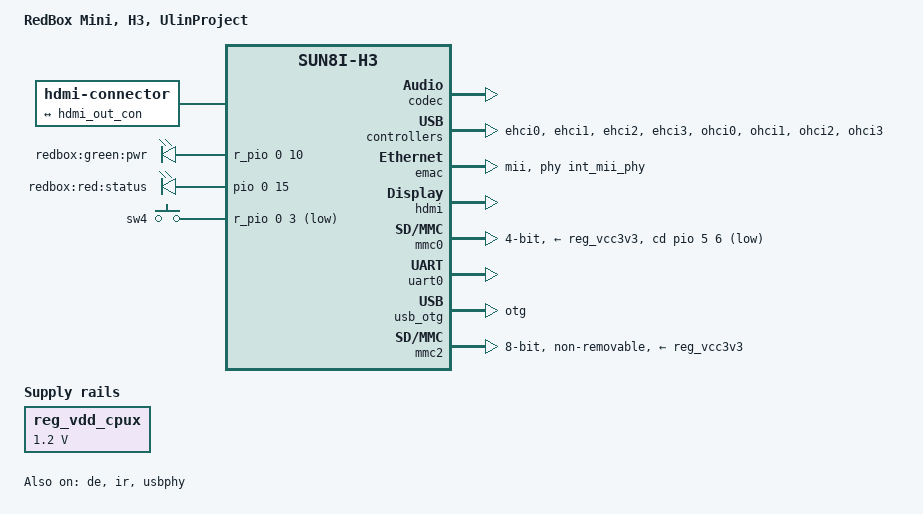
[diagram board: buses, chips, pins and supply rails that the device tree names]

// This build is a rework of redbox mini 5 (#UlinProject24, mit/apache2) 
// and orange pi pc (Copyright (C) 2015 Chen-Yu Tsai <wens@csie.org>, gpl/x11(mit))
//

/*
 * Copyright (C) 2015 Chen-Yu Tsai <wens@csie.org>
 *
 * This file is dual-licensed: you can use it either under the terms
 * of the GPL or the X11 license, at your option. Note that this dual
 * licensing only applies to this file, and not this project as a
 * whole.
 *
 *  a) This file is free software; you can redistribute it and/or
 *     modify it under the terms of the GNU General Public License as
 *     published by the Free Software Foundation; either version 2 of the
 *     License, or (at your option) any later version.
 *
 *     This file is distributed in the hope that it will be useful,
 *     but WITHOUT ANY WARRANTY; without even the implied warranty of
 *     MERCHANTABILITY or FITNESS FOR A PARTICULAR PURPOSE.  See the
 *     GNU General Public License for more details.
 *
 * Or, alternatively,
 *
 *  b) Permission is hereby granted, free of charge, to any person
 *     obtaining a copy of this software and associated documentation
 *     files (the "Software"), to deal in the Software without
 *     restriction, including without limitation the rights to use,
 *     copy, modify, merge, publish, distribute, sublicense, and/or
 *     sell copies of the Software, and to permit persons to whom the
 *     Software is furnished to do so, subject to the following
 *     conditions:
 *
 *     The above copyright notice and this permission notice shall be
 *     included in all copies or substantial portions of the Software.
 *
 *     THE SOFTWARE IS PROVIDED "AS IS", WITHOUT WARRANTY OF ANY KIND,
 *     EXPRESS OR IMPLIED, INCLUDING BUT NOT LIMITED TO THE WARRANTIES
 *     OF MERCHANTABILITY, FITNESS FOR A PARTICULAR PURPOSE AND
 *     NONINFRINGEMENT. IN NO EVENT SHALL THE AUTHORS OR COPYRIGHT
 *     HOLDERS BE LIABLE FOR ANY CLAIM, DAMAGES OR OTHER LIABILITY,
 *     WHETHER IN AN ACTION OF CONTRACT, TORT OR OTHERWISE, ARISING
 *     FROM, OUT OF OR IN CONNECTION WITH THE SOFTWARE OR THE USE OR
 *     OTHER DEALINGS IN THE SOFTWARE.
 */
// + #UlinProject24

/dts-v1/;
#include "sun8i-h3.dtsi"
#include "sunxi-common-regulators.dtsi"

#include <dt-bindings/gpio/gpio.h>
#include <dt-bindings/input/input.h>

/ {
	model = "RedBox Mini, H3, UlinProject";
	compatible = "redbox,m-h3", "allwinner,sun8i-h3";

	aliases {
		ethernet0 = &emac;
		serial0 = &uart0;
	};

	chosen {
		stdout-path = "serial0:115200n8";
	};

	connector {
		compatible = "hdmi-connector";
		type = "a";

		port {
			hdmi_con_in: endpoint {
				remote-endpoint = <&hdmi_out_con>;
			};
		};
	};

	leds {
		compatible = "gpio-leds";

		pwr_led {
			label = "redbox:green:pwr";
			gpios = <&r_pio 0 10 GPIO_ACTIVE_HIGH>;
			default-state = "on";
		};

		status_led {
			label = "redbox:red:status";
			gpios = <&pio 0 15 GPIO_ACTIVE_HIGH>;
		};
	};

	gpio-keys {
		compatible = "gpio-keys";

		switch-4 {
			label = "sw4";
			linux,code = <KEY_RESTART>;
			gpios = <&r_pio 0 3 GPIO_ACTIVE_LOW>;
			wakeup-source;
		};
	};

	reg_vdd_cpux: vdd-cpux {
		compatible = "regulator-fixed";
		regulator-name = "vdd-cpux";
		regulator-min-microvolt = <1200000>;
		regulator-max-microvolt = <1200000>; 
		regulator-boot-on;
		regulator-always-on;
	};
	
	/delete-node/ opp-table-cpu;
	cpu_opp_table: opp-table-cpu {
		opp-408000000 {
			opp-hz = /bits/ 64 <408000000>;
			opp-microvolt = <1000000 1000000 1310000>;
			clock-latency-ns = <244144>; /* 8 32k periods */
		};

		opp-648000000 {
			opp-hz = /bits/ 64 <648000000>;
			opp-microvolt = <1040000 1040000 1310000>;
			clock-latency-ns = <244144>; /* 8 32k periods */
		};

		opp-792000000 {
			opp-hz = /bits/ 64 <792000000>;
			opp-microvolt = <1080000 1080000 1310000>;
			clock-latency-ns = <244144>; /* 8 32k periods */
		};

		opp-816000000 {
			opp-hz = /bits/ 64 <816000000>;
			opp-microvolt = <1080000 1080000 1310000>;
			clock-latency-ns = <244144>; /* 8 32k periods */
		};

		opp-864000000 {
			opp-hz = /bits/ 64 <864000000>;
			opp-microvolt = <1120000	1120000 1310000>;
			clock-latency-ns = <244144>; /* 8 32k periods */
		};

		opp-912000000 {
			opp-hz = /bits/ 64 <912000000>;
			opp-microvolt = <1120000	1120000 1310000>;
			clock-latency-ns = <244144>; /* 8 32k periods */
		};

		opp-936000000 {
			opp-hz = /bits/ 64 <936000000>;
			opp-microvolt = <1160000 1160000 1310000>;
			clock-latency-ns = <244144>; /* 8 32k periods */
		};

		opp-960000000 {
			opp-hz = /bits/ 64 <960000000>;
			opp-microvolt = <1160000 1160000 1310000>;
			clock-latency-ns = <244144>; /* 8 32k periods */
		};

		opp-1008000000 {
			opp-hz = /bits/ 64 <1008000000>;
			opp-microvolt = <1200000 1200000 1310000>;
			clock-latency-ns = <244144>; /* 8 32k periods */
		};

		opp-1056000000 {
			opp-hz = /bits/ 64 <1056000000>;
			opp-microvolt = <1240000 1240000 1310000>;
			clock-latency-ns = <244144>; /* 8 32k periods */
		};
		
		opp-1080000000 {
			opp-hz = /bits/ 64 <1080000000>;
			opp-microvolt = <1240000	1240000 1310000>;
			clock-latency-ns = <244144>; /* 8 32k periods */
		};

		opp-1104000000 {
			opp-hz = /bits/ 64 <1104000000>;
			opp-microvolt = <1260000	1260000 1310000>;
			clock-latency-ns = <244144>; /* 8 32k periods */
		};

		opp-1152000000 {
			opp-hz = /bits/ 64 <1152000000>;
			opp-microvolt = <1300000	1300000 1310000>;
			clock-latency-ns = <244144>; /* 8 32k periods */
		};

		 opp-1200000000 {
                        opp-hz = /bits/ 64 <1200000000>;
                        opp-microvolt = <1320000 1320000 1320000 >;
                        clock-latency-ns = <244144>; /* 8 32k periods */
                };
	};
	/delete-node/ thermal-zones;
	thermal-zones {
		cpu_thermal: cpu_thermal {
			thermal-sensors = <&ths 0>;

			polling-delay-passive = <1000>;
			polling-delay = <10000>;

			trips {
				cpu_hot_trip: cpu-hot {
					/* temperature = <90000>; !aosp VERSION! */
					temperature = <80000>;
					hysteresis = <2000>; /*aosp -0, OFF-2000?*/
					type = "passive";
				};

				cpu_very_hot_trip: cpu-very-hot {
					/* temperature = <100000>; !aosp VERSION, AND OFF! */
					temperature = <95000>;
					hysteresis = <0>;
					type = "critical";
				};
			};

			cooling-maps {
				cpu-hot-limit {
					trip = <&cpu_hot_trip>;
					cooling-device = <&cpu0 THERMAL_NO_LIMIT THERMAL_NO_LIMIT>,
							 <&cpu1 THERMAL_NO_LIMIT THERMAL_NO_LIMIT>,
							 <&cpu2 THERMAL_NO_LIMIT THERMAL_NO_LIMIT>,
							 <&cpu3 THERMAL_NO_LIMIT THERMAL_NO_LIMIT>;
				};
			};
		};
	};
	idle-states { // not finished!!!
		entry-method = "arm,psci";

		idle_cpu_sleep: cpu-sleep {
			compatible = "arm,idle-state";

			arm,psci-suspend-param = <0x10000>;
			entry-latency-us = <0x28>;
			exit-latency-us = <0x64>;
			min-residency-us = <0x96>;

			local-timer-stop;
		};

		idle_cluster_sleep: cluster-sleep {
			compatible = "arm,idle-state";

			arm,psci-suspend-param = <0x1010000>;
			entry-latency-us = <0x1f4>;
			exit-latency-us = <0x3e8>;
			min-residency-us = <0x9c4>;

			local-timer-stop;
		};

		idle_sys_sleep: sys-sleep {
			compatible = "arm,idle-state";

			arm,psci-suspend-param = <0x2010000>;
			entry-latency-us = <0x3e8>;
			exit-latency-us = <0x7d0>;
			min-residency-us = <0x1194>;

			local-timer-stop;
		};
	};
	cpus {
		l2: l2-cache0 {
			compatible = "cache";
			cache-unified;
			cache-size = <262144>;
			cache-line-size = <64>;
			cache-sets = <512>;
			associativity = <8>;
			cache-level = <2>;
		};
	};
};

&codec {
	allwinner,audio-routing =
		"Line Out", "LINEOUT",
		"MIC1", "Mic",
		"Mic",  "MBIAS";
	status = "okay";
};

&de {
	status = "okay";
};

&cpu0 {
	cpu-supply = <&reg_vdd_cpux>;
	operating-points-v2 = <&cpu_opp_table>;
	cpu-idle-states = <&idle_cpu_sleep &idle_cluster_sleep &idle_sys_sleep>;
	sleep-states = "sleep deep-sleep suspend-to-ram suspend-to-disk";
	d-cache-size = <32768>;
	d-cache-line-size = <32>;
	i-cache-size = <32768>;
	i-cache-line-size = <32>;
	next-level-cache = <&l2>;
};

&cpu1 {
	cpu-supply = <&reg_vdd_cpux>;
	operating-points-v2 = <&cpu_opp_table>;
	cpu-idle-states = <&idle_cpu_sleep &idle_cluster_sleep &idle_sys_sleep>;
	sleep-states = "sleep deep-sleep suspend-to-ram suspend-to-disk";
	d-cache-size = <32768>;
	d-cache-line-size = <32>;
	i-cache-size = <32768>;
	i-cache-line-size = <32>;
	next-level-cache = <&l2>;
};

&cpu2 {
	cpu-supply = <&reg_vdd_cpux>;
	operating-points-v2 = <&cpu_opp_table>;
	cpu-idle-states = <&idle_cpu_sleep &idle_cluster_sleep &idle_sys_sleep>;
	sleep-states = "sleep deep-sleep suspend-to-ram suspend-to-disk";
	d-cache-size = <32768>;
	d-cache-line-size = <32>;
	i-cache-size = <32768>;
	i-cache-line-size = <32>;
	next-level-cache = <&l2>;
};

&cpu3 {
	cpu-supply = <&reg_vdd_cpux>;
	operating-points-v2 = <&cpu_opp_table>;
	cpu-idle-states = <&idle_cpu_sleep &idle_cluster_sleep &idle_sys_sleep>;
	sleep-states = "sleep deep-sleep suspend-to-ram suspend-to-disk";
	d-cache-size = <32768>;
	d-cache-line-size = <32>;
	i-cache-size = <32768>;
	i-cache-line-size = <32>;
	next-level-cache = <&l2>;
};

&ehci0 {
	status = "okay";
};

&ehci1 {
	status = "okay";
};

&ehci2 {
	status = "okay";
};

&ehci3 {
	status = "okay";
};

&emac {
	phy-handle = <&int_mii_phy>;
	phy-mode = "mii";
	allwinner,leds-active-low;
	status = "okay";
};

&hdmi {
	status = "okay";
};

&hdmi_out {
	hdmi_out_con: endpoint {
		remote-endpoint = <&hdmi_con_in>;
	};
};

&ir {
	pinctrl-names = "default";
	pinctrl-0 = <&r_ir_rx_pin>;
	status = "okay";
};

&mmc0 { // sdcard
	vmmc-supply = <&reg_vcc3v3>;
	bus-width = <4>;
	max-frequency = <50000000>;
	cd-gpios = <&pio 5 6 GPIO_ACTIVE_LOW>; /* PF6 */
	status = "okay";
};

&ohci0 {
	status = "okay";
};

&ohci1 {
	status = "okay";
};

&ohci2 {
	status = "okay";
};

&ohci3 {
	status = "okay";
};

&reg_usb0_vbus { // TODO, this build does not have USB power management (suggested to dummy or delete)
	gpio = <&r_pio 0 2 GPIO_ACTIVE_HIGH>; /* PL2 */
	status = "okay";
};

&uart0 {
	pinctrl-names = "default";
	pinctrl-0 = <&uart0_pa_pins>;
	status = "okay";
};

&uart1 {
	pinctrl-names = "default";
	pinctrl-0 = <&uart1_pins>;
	status = "disabled";
};

&uart2 {
	pinctrl-names = "default";
	pinctrl-0 = <&uart2_pins>;
	status = "disabled";
};

&uart3 {
	pinctrl-names = "default";
	pinctrl-0 = <&uart3_pins>;
	status = "disabled";
};

&usb_otg {
	dr_mode = "otg";
	status = "okay";
};

&usbphy {
	usb0_id_det-gpios = <&pio 6 12 GPIO_ACTIVE_HIGH>; /* PG12 */
	usb0_vbus-supply = <&reg_usb0_vbus>;
	/* VBUS on USB host ports are always on */
	status = "okay";
};

&i2c0 {
	status = "disabled"; 
	clock-frequency = <400000>;
};

&i2c1 {
	status = "disabled"; /* I2C bus locked, */
	clock-frequency = <200000>;
};

&i2c2 {
	status = "disabled";
	clock-frequency = <200000>;
};

&mmc2 {
	non-removable;
	
	bus-width = <8>;
	max-frequency = <50000000>;
	pinctrl-names = "default";
	pinctrl-0 = <&mmc2_8bit_pins>;
	status = "okay";
	vmmc-supply = <&reg_vcc3v3>;

	mmc-ddr-3_3v;
};
